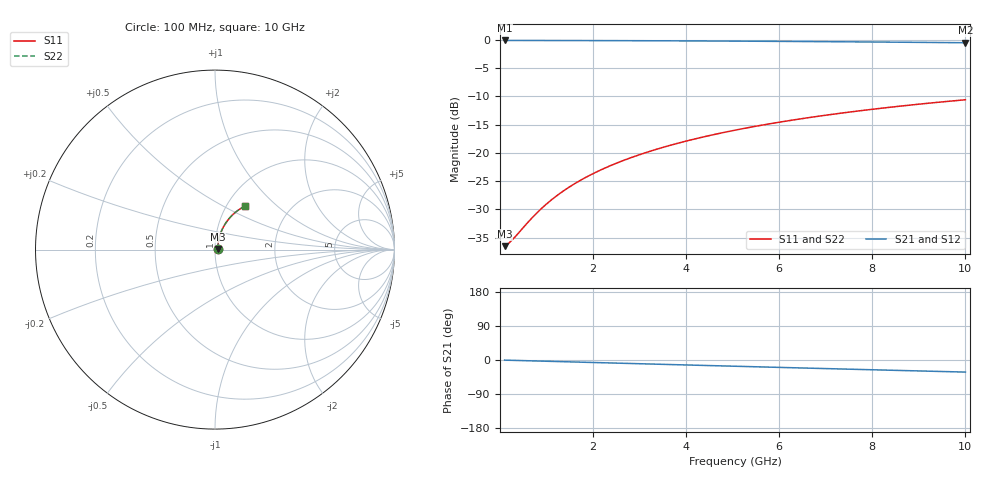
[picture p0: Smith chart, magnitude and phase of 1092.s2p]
# Hz S RI R 50.00
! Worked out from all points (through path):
!   100 points, 100 MHz to 10 GHz, reference 50 ohm
!   highest |S21| = -0.13 dB at 100 MHz (marker M1); lowest = -0.5 dB at 10 GHz (marker M2)
!   group delay of S21, straight-line fit = 8.87 ps
!   lowest |S11| = -36.5 dB at 100 MHz (marker M3), VSWR 1.03, Z = 51.5 + j0.321 ohm
!   |S11| at or under -10 dB: start of sweep to end of sweep
!   |S22| runs from -36.5 to -10.6 dB; largest |S21 - S12| = 0
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1e8  0.0147 0.00312  0.9853 -0.00565  0.9853 -0.00565  0.0147 0.00312
2e8  0.0148 0.00624  0.9852 -0.0113  0.9852 -0.0113  0.0148 0.00624
3e8  0.015 0.00935  0.985 -0.017  0.985 -0.017  0.015 0.00935
7e8  0.0159 0.0218  0.9839 -0.0395  0.9839 -0.0395  0.0159 0.0218
8e8  0.0162 0.0249  0.9836 -0.0452  0.9836 -0.0452  0.0162 0.0249
1e9  0.0169 0.0311  0.9828 -0.0564  0.9828 -0.0564  0.0169 0.0311
1.2e9  0.0177 0.0372  0.9818 -0.0677  0.9818 -0.0677  0.0177 0.0372
1.4e9  0.0187 0.0434  0.9806 -0.0789  0.9806 -0.0789  0.0187 0.0434
1.6e9  0.0198 0.0495  0.9793 -0.0901  0.9793 -0.0901  0.0198 0.0495
1.8e9  0.0211 0.0556  0.9779 -0.1012  0.9779 -0.1012  0.0211 0.0556
2.1e9  0.0232 0.0646  0.9753 -0.1179  0.9753 -0.1179  0.0232 0.0646
2.5e9  0.0265 0.0766  0.9714 -0.14  0.9714 -0.14  0.0265 0.0766
2.9e9  0.0303 0.0883  0.9669 -0.1619  0.9669 -0.1619  0.0303 0.0883
3.4e9  0.0358 0.1027  0.9603 -0.1889  0.9603 -0.1889  0.0358 0.1027
3.8e9  0.0408 0.114  0.9544 -0.2103  0.9544 -0.2103  0.0408 0.114
4.2e9  0.0463 0.1249  0.9479 -0.2315  0.9479 -0.2315  0.0463 0.1249
5.1e9  0.0603 0.1485  0.9311 -0.2779  0.9311 -0.2779  0.0603 0.1485
5.9e9  0.0746 0.168  0.914 -0.3178  0.914 -0.3178  0.0746 0.168
6.7e9  0.0904 0.186  0.8948 -0.3562  0.8948 -0.3562  0.0904 0.186
7.5e9  0.1075 0.2024  0.8739 -0.393  0.8739 -0.393  0.1075 0.2024
8.4e9  0.1283 0.2188  0.8483 -0.4324  0.8483 -0.4324  0.1283 0.2188
1e10  0.1679 0.2423  0.7987 -0.4968  0.7987 -0.4968  0.1679 0.2423
